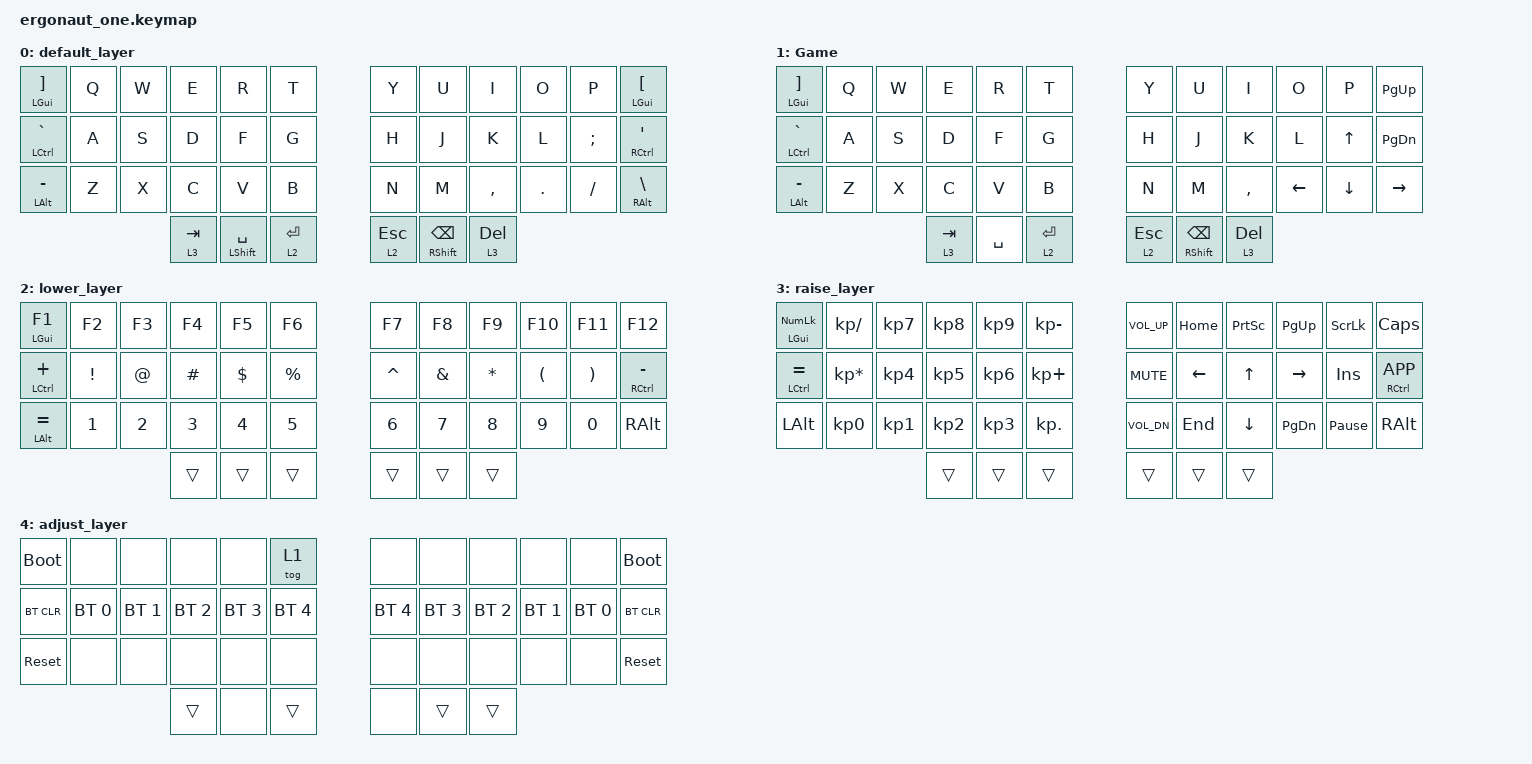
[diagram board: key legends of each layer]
#include <behaviors.dtsi>
#include <dt-bindings/zmk/bt.h>
#include <dt-bindings/zmk/keys.h>

#define DEF 0
#define LWR 1
#define RSE 2
#define ADJ 3

&lt { quick-tap-ms = <200>; };

&mt { quick-tap-ms = <200>; };

/ {
    conditional_layers {
        compatible = "zmk,conditional-layers";

        tri-layer {
            if-layers = <2 3>;
            then-layer = <4>;
        };
    };

    keymap {
        compatible = "zmk,keymap";

        default_layer {
            bindings = <
&mt LGUI RBKT    &kp Q  &kp W  &kp E      &kp R            &kp T      &kp Y      &kp U           &kp I      &kp O    &kp P     &mt LGUI LBKT
&mt LCTRL GRAVE  &kp A  &kp S  &kp D      &kp F            &kp G      &kp H      &kp J           &kp K      &kp L    &kp SEMI  &mt RCTRL SQT
&mt LALT MINUS   &kp Z  &kp X  &kp C      &kp V            &kp B      &kp N      &kp M           &kp COMMA  &kp DOT  &kp FSLH  &mt RALT BSLH
                               &lt 3 TAB  &mt LSHFT SPACE  &lt 2 RET  &lt 2 ESC  &mt RSHFT BSPC  &lt 3 DEL
            >;
        };

        Game {
            bindings = <
&mt LGUI RBKT    &kp Q  &kp W  &kp E      &kp R      &kp T      &kp Y      &kp U           &kp I      &kp O     &kp P     &kp PAGE_UP
&mt LCTRL GRAVE  &kp A  &kp S  &kp D      &kp F      &kp G      &kp H      &kp J           &kp K      &kp L     &kp UP    &kp PAGE_DOWN
&mt LALT MINUS   &kp Z  &kp X  &kp C      &kp V      &kp B      &kp N      &kp M           &kp COMMA  &kp LEFT  &kp DOWN  &kp RIGHT
                               &lt 3 TAB  &kp SPACE  &lt 2 RET  &lt 2 ESC  &mt RSHFT BSPC  &lt 3 DEL
            >;
        };

        lower_layer {
            bindings = <
&mt LGUI F1     &kp F2    &kp F3  &kp F4    &kp F5    &kp F6     &kp F7     &kp F8    &kp F9    &kp F10   &kp F11   &kp F12
&mt LCTRL PLUS  &kp EXCL  &kp AT  &kp HASH  &kp DLLR  &kp PRCNT  &kp CARET  &kp AMPS  &kp STAR  &kp LPAR  &kp RPAR  &mt RCTRL MINUS
&mt LALT EQUAL  &kp N1    &kp N2  &kp N3    &kp N4    &kp N5     &kp N6     &kp N7    &kp N8    &kp N9    &kp N0    &kp RALT
                                  &trans    &trans    &trans     &trans     &trans    &trans
            >;
        };

        raise_layer {
            bindings = <
&mt LGUI KP_NUM  &kp KP_SLASH     &kp KP_N7  &kp KP_N8  &kp KP_N9  &kp KP_MINUS  &kp C_VOL_UP  &kp HOME  &kp PSCRN  &kp PG_UP  &kp SLCK         &kp CLCK
&mt LCTRL EQUAL  &kp KP_MULTIPLY  &kp KP_N4  &kp KP_N5  &kp KP_N6  &kp KP_PLUS   &kp C_MUTE    &kp LEFT  &kp UP     &kp RIGHT  &kp INS          &mt RCTRL K_APP
&kp LALT         &kp KP_N0        &kp KP_N1  &kp KP_N2  &kp KP_N3  &kp KP_DOT    &kp C_VOL_DN  &kp END   &kp DOWN   &kp PG_DN  &kp PAUSE_BREAK  &kp RALT
                                             &trans     &trans     &trans        &trans        &trans    &trans
            >;
        };

        adjust_layer {
            bindings = <
&bootloader  &none         &none         &none         &none         &tog 1        &none         &none         &none         &none         &none         &bootloader
&bt BT_CLR   &bt BT_SEL 0  &bt BT_SEL 1  &bt BT_SEL 2  &bt BT_SEL 3  &bt BT_SEL 4  &bt BT_SEL 4  &bt BT_SEL 3  &bt BT_SEL 2  &bt BT_SEL 1  &bt BT_SEL 0  &bt BT_CLR
&sys_reset   &none         &none         &none         &none         &none         &none         &none         &none         &none         &none         &sys_reset
                                         &trans        &none         &trans        &none         &trans        &trans
            >;
        };
    };
};
